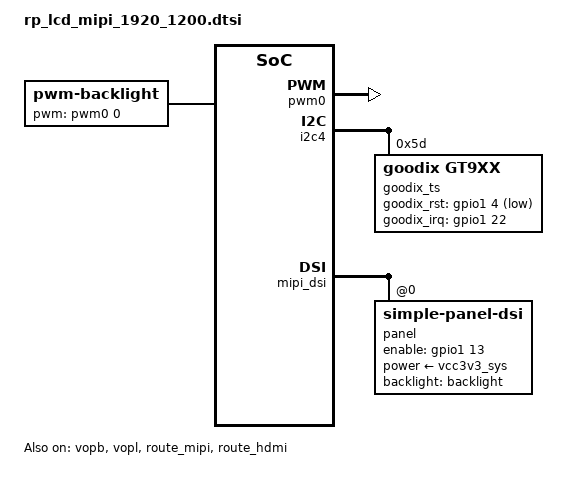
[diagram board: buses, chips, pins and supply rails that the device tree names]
/ {
	backlight: backlight {
		status = "okay";
		compatible = "pwm-backlight";
		pwms = <&pwm0 0 25000 0>;
		brightness-levels = <
//			  0   1   2   3   4   5   6   7
//			  8   9  10  11  12  13  14  15
//			 16  17  18  19  20  21  22  23
//			 24  25  26  27  28  29  30  31
//			 32  33  34  35  36  37  38  39
//			 40  41  42  43  44  45  46  47
//			 48  49  50  51  52  53  54  55
//			 56  57  58  59  60  61  62  63
//			 64  65  66  67  68  69  70  71
			 72  73  74  75  76  77  78  79
			 80  81  82  83  84  85  86  87
			 88  89  90  91  92  93  94  95
			 96  97  98  99 100 101 102 103
			104 105 106 107 108 109 110 111
			112 113 114 115 116 117 118 119
			120 121 122 123 124 125 126 127
			128 129 130 131 132 133 134 135
			136 137 138 139 140 141 142 143
			144 145 146 147 148 149 150 151
			152 153 154 155 156 157 158 159
			160 161 162 163 164 165 166 167
			168 169 170 171 172 173 174 175
			176 177 178 179 180 181 182 183
			184 185 186 187 188 189 190 191
			192 193 194 195 196 197 198 199
			200 201 202 203 204 205 206 207
			208 209 210 211 212 213 214 215
			216 217 218 219 220 221 222 223
			224 225 226 227 228 229 230 231
			232 233 234 235 236 237 238 239
			240 241 242 243 244 245 246 247
			248 249 250 251 252 253 254 255>;
		default-brightness-level = <255>;
	};

};


&pwm0 {
	status = "okay";
};

&i2c4 {
        status = "okay";

        goodix_ts@5d {
		compatible = "goodix,gt9xx";
		reg = <0x5d>;
		
		goodix_rst_gpio = <&gpio1 4 GPIO_ACTIVE_LOW>;
		goodix_irq_gpio = <&gpio1 22 IRQ_TYPE_EDGE_RISING>;
	        pinctrl-0 = <&goodix_rst_gpio>;
                pinctrl-1 = <&goodix_irq_gpio>;
//old
/*                
		goodix,cfg-group0 = [
			55 80 07 B0 04 0A 3D 00 01 08 28
			05 50 32 03 05 00 00 00 00 00 00
			00 18 1A 1E 14 8E 2F 99 17 15 31
			0D 00 00 02 9B 03 1D 00 00 00 00
			00 00 00 00 00 00 00 1E 78 94 C5
			02 08 00 00 00 5B 22 00 4C 2D 00
			41 3C 00 38 4F 00 32 69 00 32 00
			00 00 00 00 00 00 00 00 00 00 00
			00 00 00 00 00 00 00 00 00 00 00
			00 00 00 00 00 00 00 00 00 00 00
			00 00 00 01 04 05 06 07 08 09 0C
			0D 0E 0F 10 11 14 15 16 17 FF FF
			00 00 00 00 00 00 00 00 00 00 00
			02 04 06 07 08 0A 0C 0D 0F 10 11
			12 13 19 1B 1C 1E 1F 20 21 22 23
			24 25 26 27 28 29 FF FF FF 00 00
			00 00 00 00 00 00 00 00 6B 01];
		goodix,cfg-group1 = [
			55 80 07 B0 04 0A 3D 00 01 08 28
			05 50 32 03 05 00 00 00 00 00 00
			00 18 1A 1E 14 8E 2F 99 17 15 31
			0D 00 00 02 9B 03 1D 00 00 00 00
			00 00 00 00 00 00 00 1E 78 94 C5
			02 08 00 00 00 5B 22 00 4C 2D 00
			41 3C 00 38 4F 00 32 69 00 32 00
			00 00 00 00 00 00 00 00 00 00 00
			00 00 00 00 00 00 00 00 00 00 00
			00 00 00 00 00 00 00 00 00 00 00
			00 00 00 01 04 05 06 07 08 09 0C
			0D 0E 0F 10 11 14 15 16 17 FF FF
			00 00 00 00 00 00 00 00 00 00 00
			02 04 06 07 08 0A 0C 0D 0F 10 11
			12 13 19 1B 1C 1E 1F 20 21 22 23
			24 25 26 27 28 29 FF FF FF 00 00
			00 00 00 00 00 00 00 00 6B 01];
*/			

//new		
		goodix,cfg-group0 = [
			46 80 07 B0 04 0A 0C 00 01 08 28
			05 46 28 03 05 00 00 00 00 00 00
			00 00 00 00 00 8F 2E 99 2A 28 18
			10 00 00 01 BA 04 1D 00 00 00 00
			00 00 00 00 00 00 00 19 32 94 C5
			02 07 00 00 04 A1 1A 00 8B 1E 00
			7B 23 00 67 28 00 5B 2E 00 5B 00
			00 00 00 00 00 00 00 00 00 00 00
			00 00 00 00 00 00 00 00 00 00 00
			00 00 00 00 00 00 00 00 00 00 00
			00 00 00 01 04 05 06 07 08 09 0C
			0D 0E 0F 10 11 14 15 16 17 FF FF
			00 00 00 00 00 00 00 00 00 00 00
			02 04 06 07 08 0A 0C 0D 0F 10 11
			12 13 14 19 1B 1C 1E 1F 20 21 22
			23 24 25 26 27 28 FF FF FF 00 00
			00 00 00 00 00 00 00 00 A3 01];
		goodix,cfg-group1 = [
			46 80 07 B0 04 0A 0C 00 01 08 28
			05 46 28 03 05 00 00 00 00 00 00
			00 00 00 00 00 8F 2E 99 2A 28 18
			10 00 00 01 BA 04 1D 00 00 00 00
			00 00 00 00 00 00 00 19 32 94 C5
			02 07 00 00 04 A1 1A 00 8B 1E 00
			7B 23 00 67 28 00 5B 2E 00 5B 00
			00 00 00 00 00 00 00 00 00 00 00
			00 00 00 00 00 00 00 00 00 00 00
			00 00 00 00 00 00 00 00 00 00 00
			00 00 00 01 04 05 06 07 08 09 0C
			0D 0E 0F 10 11 14 15 16 17 FF FF
			00 00 00 00 00 00 00 00 00 00 00
			02 04 06 07 08 0A 0C 0D 0F 10 11
			12 13 14 19 1B 1C 1E 1F 20 21 22
			23 24 25 26 27 28 FF FF FF 00 00
			00 00 00 00 00 00 00 00 A3 01];
//end		
		goodix,cfg-group2 = [/*
			48 D0 02 00 05 05 75 01 01 0F 24 
			0F 64 3C 03 05 00 00 00 02 00 00 
			00 16 19 1C 14 8C 0E 0E 24 00 31 
			0D 00 00 00 83 33 1D 00 41 00 00 
			3C 0A 14 08 0A 00 2B 1C 3C 94 D5 
			03 08 00 00 04 93 1E 00 82 23 00 
			74 29 00 69 2F 00 5F 37 00 5F 20 
			40 60 00 F0 40 30 55 50 27 00 00 
			00 00 00 00 00 00 00 00 00 00 00 
			00 00 00 00 00 00 00 14 19 00 00 
			50 50 02 04 06 08 0A 0C 0E 10 12 
			14 16 18 1A 1C 00 00 00 00 00 00 
			00 00 00 00 00 00 00 00 00 00 1D 
			1E 1F 20 21 22 24 26 28 29 2A 1C 
			18 16 14 13 12 10 0F 0C 0A 08 06 
			04 02 00 00 00 00 00 00 00 00 00 
			00 00 00 00 00 00 00 00 3C 01*/];
	};

};

&mipi_dsi {
        status = "okay";
        //status = "disabled";
        panel {
                compatible ="simple-panel-dsi";
                status = "okay";
                reg = <0>;
		power-supply = <&vcc3v3_sys>;
                backlight = <&backlight>;
		dsi_to_lvds = <0>;
		system_rotate = <0>;
		lcd_density = <240>;
                enable = <&gpio1 13 GPIO_ACTIVE_HIGH>;
		delay,prepare = <10>;
//		reset  = <&gpio1 0 GPIO_ACTIVE_HIGH>;
//		reset-delay-ms = <200>;
                dsi,flags = <(MIPI_DSI_MODE_VIDEO | MIPI_DSI_MODE_VIDEO_BURST |
                                MIPI_DSI_MODE_VIDEO_SYNC_PULSE)>;
                dsi,format = <MIPI_DSI_FMT_RGB888>;
                dsi,lanes = <4>;

                display-timings {
                        native-mode = <&timing0>;
			timing0: timing0 {
				clock-frequency = <150000000>;
				hactive = <1920>;
				vactive = <1200>;
				hback-porch = <60>;
				hfront-porch = <16>;
				vback-porch = <23>;
				vfront-porch = <12>;
				hsync-len = <20>;
				vsync-len = <3>;
				de-active = <0>;
				pixelclk-active = <0>;
			};


                };
        };
};

&vopb {
        assigned-clocks = <&cru DCLK_VOP0_DIV>;
        assigned-clock-parents = <&cru PLL_CPLL>;
        //assigned-clock-parents = <&cru PLL_VPLL>;
        status = "okay";
};

&vopb_mmu {
        status = "okay";
};

&vopl {
        assigned-clocks = <&cru DCLK_VOP1_DIV>;
        assigned-clock-parents = <&cru PLL_VPLL>;
        //assigned-clock-parents = <&cru PLL_CPLL>;
        status = "okay";
};

&vopl_mmu {
        status = "okay";
};

&mipi_in_vopl { 
        status = "disabled"; 
}; 
 
&hdmi_in_vopb { 
        status = "disabled"; 
}; 
 
&route_mipi { 
        status = "okay"; 
        //status = "disabled"; 
}; 
 
&route_hdmi { 
        status = "okay"; 
        //status = "disabled"; 
}; 

&pinctrl {
        gt1x_rst_g {
		goodix_rst_gpio: goodix-rst-gpio {
//                gt1x_rst_gpio: gt1x-rst-gpio {
                        rockchip,pins = <1 4 RK_FUNC_GPIO &pcfg_pull_up>;
                };
		goodix_irq_gpio: goodix-irq-gpio {
//                gt1x_int_gpio: gt1x-int-gpio {
                        //rockchip,pins = <1 18 RK_FUNC_GPIO &pcfg_pull_up>;
                        rockchip,pins = <1 22 RK_FUNC_GPIO &pcfg_pull_up>;
                };

        };

};
